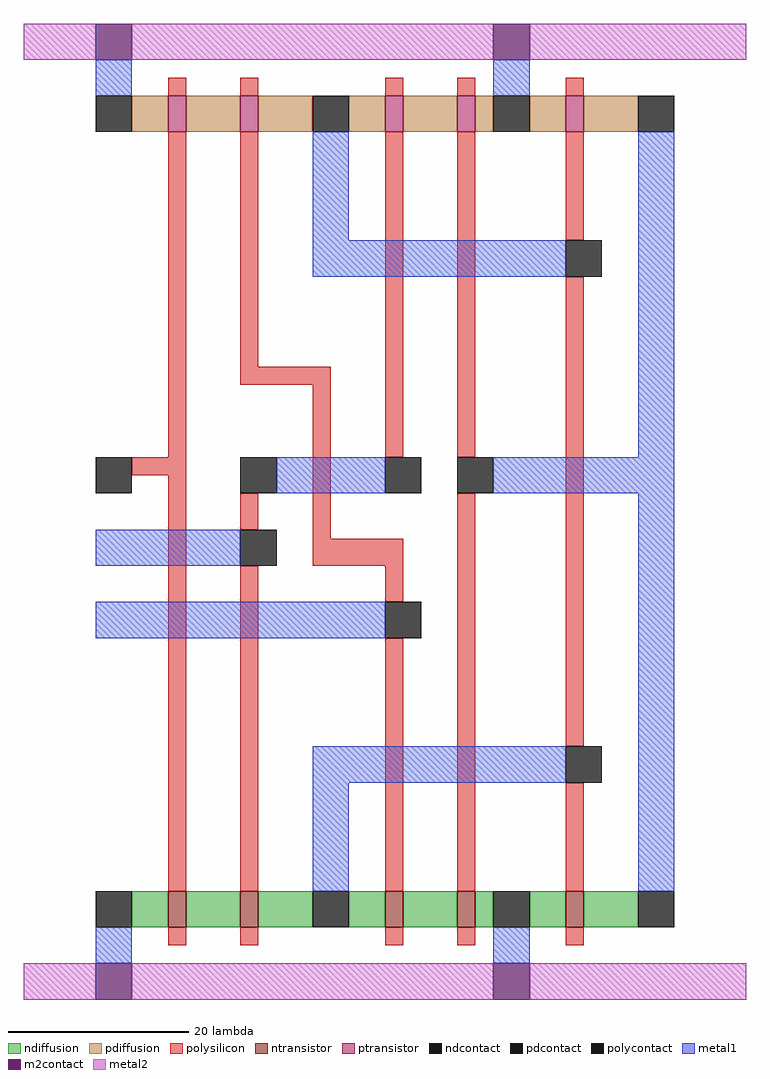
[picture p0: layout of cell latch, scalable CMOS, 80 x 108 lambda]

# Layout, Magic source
magic
tech scmos
<< polysilicon >>
rect 16 100 18 102
rect 24 100 26 102
rect 40 100 42 102
rect 48 100 50 102
rect 60 100 62 102
rect 16 60 18 96
rect 24 70 26 96
rect 24 68 34 70
rect 12 58 18 60
rect 16 12 18 58
rect 24 52 26 56
rect 32 51 34 68
rect 40 60 42 96
rect 48 60 50 96
rect 60 84 62 96
rect 32 48 42 51
rect 24 12 26 48
rect 40 44 42 48
rect 40 12 42 40
rect 48 12 50 56
rect 60 28 62 80
rect 60 12 62 24
rect 16 6 18 8
rect 24 6 26 8
rect 40 6 42 8
rect 48 6 50 8
rect 60 6 62 8
<< ndiffusion >>
rect 12 8 16 12
rect 18 8 24 12
rect 26 8 32 12
rect 36 8 40 12
rect 42 8 48 12
rect 50 8 52 12
rect 56 8 60 12
rect 62 8 68 12
<< pdiffusion >>
rect 12 96 16 100
rect 18 96 24 100
rect 26 96 32 100
rect 36 96 40 100
rect 42 96 48 100
rect 50 96 52 100
rect 56 96 60 100
rect 62 96 68 100
<< metal1 >>
rect 8 100 12 104
rect 52 100 56 104
rect 32 84 36 96
rect 32 80 60 84
rect 68 60 72 96
rect 28 56 40 60
rect 52 56 72 60
rect 8 48 24 52
rect 8 40 40 44
rect 32 24 60 28
rect 32 12 36 24
rect 68 12 72 56
rect 8 4 12 8
rect 52 4 56 8
<< metal2 >>
rect 0 104 8 108
rect 12 104 52 108
rect 56 104 80 108
rect 0 0 8 4
rect 12 0 52 4
rect 56 0 80 4
<< ntransistor >>
rect 16 8 18 12
rect 24 8 26 12
rect 40 8 42 12
rect 48 8 50 12
rect 60 8 62 12
<< ptransistor >>
rect 16 96 18 100
rect 24 96 26 100
rect 40 96 42 100
rect 48 96 50 100
rect 60 96 62 100
<< polycontact >>
rect 8 56 12 60
rect 24 56 28 60
rect 24 48 28 52
rect 60 80 64 84
rect 40 56 44 60
rect 48 56 52 60
rect 40 40 44 44
rect 60 24 64 28
<< ndcontact >>
rect 8 8 12 12
rect 32 8 36 12
rect 52 8 56 12
rect 68 8 72 12
<< pdcontact >>
rect 8 96 12 100
rect 32 96 36 100
rect 52 96 56 100
rect 68 96 72 100
<< m2contact >>
rect 8 104 12 108
rect 52 104 56 108
rect 8 0 12 4
rect 52 0 56 4
<< end >>
